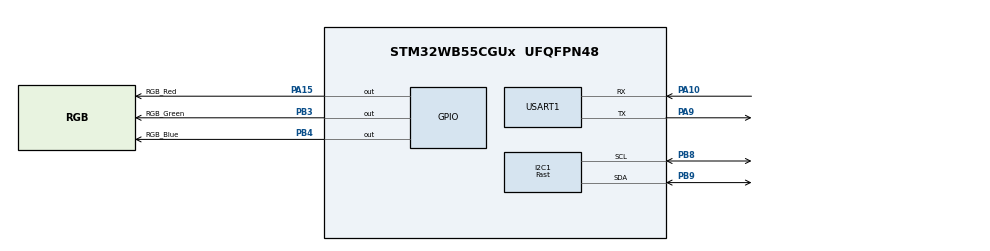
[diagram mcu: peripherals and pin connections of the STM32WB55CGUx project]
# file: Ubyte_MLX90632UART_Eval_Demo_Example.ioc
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I2C1.I2C_Speed_Mode=I2C_Fast
I2C1.Timing=0x00000003
Mcu.Family=STM32WB
Mcu.Name=STM32WB55CGUx
Mcu.Package=UFQFPN48
NVIC.PriorityGroup=NVIC_PRIORITYGROUP_4
NVIC.USART1_IRQn=true\:0\:0\:false\:false\:true\:true\:true\:true
PA10.Mode=Asynchronous
PA10.Signal=USART1_RX
PA15.GPIO_Label=RGB_Red
PA15.Signal=GPIO_Output
PA9.Mode=Asynchronous
PA9.Signal=USART1_TX
PB3.GPIO_Label=RGB_Green
PB3.Signal=GPIO_Output
PB4.GPIO_Label=RGB_Blue
PB4.Signal=GPIO_Output
PB8.GPIO_Pu=GPIO_PULLUP
PB8.Mode=I2C
PB8.Signal=I2C1_SCL
PB9.GPIO_Pu=GPIO_PULLUP
PB9.Mode=I2C
PB9.Signal=I2C1_SDA
ProjectManager.HeapSize=0x200
ProjectManager.StackSize=0x400
ProjectManager.TargetToolchain=STM32CubeIDE
RCC.APB3Freq_Value=16000000
RCC.HSE_VALUE=8000000
RCC.HSI48_VALUE=48000000
RCC.HSI_VALUE=16000000
RCC.LSE_VALUE=32768
RCC.VCOOutputFreq_Value=32000000
USART1.VirtualMode-Asynchronous=VM_ASYNC
VP_MEMORYMAP_VS_MEMORYMAP.Mode=CurAppReg
board=custom

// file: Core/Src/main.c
/* USER CODE BEGIN Header */

/*This sample code is made by Rohit Maurya (Embedded Software Developer at Ubyte Consulting).
This code demonstrates all the parameters that can be read from the Melexis Technologies NV MLX90632SLD-DCB-000-RE Sensor on the Ubyte MLX90632SLD-DCB-000-RE Evaluation Board connected to Ubyte STM32WB55CGU6 Development Board

  */

/* USER CODE END Header */
#include "main.h"

/* USER CODE BEGIN Includes */
#include <stdio.h>
#include "mlx90632.h"
#include "mlx90632_depends.h"
/* USER CODE END Includes */

/* USER CODE BEGIN PD */
#define MLX90632_I2C_ADDR (0x3B << 1)
/* USER CODE END PD */

I2C_HandleTypeDef hi2c1;

UART_HandleTypeDef huart1;

/* USER CODE BEGIN PV */
int32_t P_R, P_G, P_T, P_O, Ea, Eb, Fa, Fb, Ga;
int16_t Ha, Hb, Gb, Ka;
float Ambient_Temperature_C, Object_Temperature_C; //Ambient Temperature is the temperature measured by onboard temperature sensor on MLX90632SLD-DCB-000-RE. Object Temperature is the temperature measured using non contact IR for the object in front of the sensor
/* USER CODE END PV */

void SystemClock_Config(void);
void PeriphCommonClock_Config(void);
static void MX_GPIO_Init(void);
static void MX_I2C1_Init(void);
static void MX_USART1_UART_Init(void);
/* USER CODE BEGIN PFP */
int32_t read_eeprom_32(int16_t reg_address, int32_t *value);
/* USER CODE END PFP */

/* USER CODE BEGIN 0 */
// --- 1. UART PRINTF REDIRECTION ---
#ifdef __GNUC__
#define PUTCHAR_PROTOTYPE int __io_putchar(int ch)
#else
#define PUTCHAR_PROTOTYPE int fputc(int ch, FILE *f)
#endif

PUTCHAR_PROTOTYPE {
    HAL_UART_Transmit(&huart1, (uint8_t *)&ch, 1, HAL_MAX_DELAY);
    return ch;
}

// --- 2. MELEXIS LIBRARY WRAPPERS ---
// 1. I2C Read Wrapper
int32_t mlx90632_i2c_read(int16_t register_address, uint16_t *value) {
    uint8_t buffer[2];
    // Read from sensor address 0x3B
    if (HAL_I2C_Mem_Read(&hi2c1, (0x3B << 1), (uint16_t)register_address, I2C_MEMADD_SIZE_16BIT, buffer, 2, 100) == HAL_OK) {
        // Fix: Shift MSB and combine (MSB first)
        *value = (buffer[0] << 8) | buffer[1];
        return 0; // Success
    }
    return -1; // Fail
}

// 2. I2C Write Wrapper
int32_t mlx90632_i2c_write(int16_t register_address, uint16_t value) {
    uint8_t buffer[2];
    // Fix: Extract MSB first
    buffer[0] = (value >> 8) & 0xFF;
    buffer[1] = value & 0xFF;

    if (HAL_I2C_Mem_Write(&hi2c1, (0x3B << 1), (uint16_t)register_address, I2C_MEMADD_SIZE_16BIT, buffer, 2, 100) == HAL_OK) {
        return 0; // Success
    }
    return -1; // Fail
}

// 3. Microsecond Sleep Wrapper
void usleep(int min_range, int max_range) {
    uint32_t delay_ms = (min_range / 1000) + 1;
    HAL_Delay(delay_ms);
}

// 4. Millisecond Sleep Wrapper
void msleep(int msecs) {
    HAL_Delay((uint32_t)msecs);
}

// --- 3. HELPER FOR 32-BIT EEPROM READS ---
// The Melexis sensor stores 32-bit constants across two consecutive 16-bit addresses
int32_t read_eeprom_32(int16_t reg_address, int32_t *value) {
    uint16_t lsb, msb;
    if (mlx90632_i2c_read(reg_address, &lsb) != 0) return -1;
    if (mlx90632_i2c_read(reg_address + 1, &msb) != 0) return -1;
    *value = (int32_t)((msb << 16) | lsb);
    return 0;
}
/* USER CODE END 0 */

int main(void)
{

  /* MCU Configuration--------------------------------------------------------*/

  /* Reset of all peripherals, Initializes the Flash interface and the Systick. */
  HAL_Init();

  /* Configure the system clock */
  SystemClock_Config();

  /* Configure the peripherals common clocks */
  PeriphCommonClock_Config();

  /* Initialize all configured peripherals */
  MX_GPIO_Init();
  MX_I2C1_Init();
  MX_USART1_UART_Init();
  /* USER CODE BEGIN 2 */

  // Setting the Default state of the RGB LED to off
  HAL_GPIO_WritePin(GPIOA, GPIO_PIN_15, 1);
  HAL_GPIO_WritePin(GPIOB, GPIO_PIN_4, 1);
  HAL_GPIO_WritePin(GPIOB, GPIO_PIN_5, 1);

  printf("MLX90632 Initialization Starting...\r\n");

  printf("Scanning I2C bus...\r\n");
    int devices_found = 0;
    for(uint8_t i = 1; i < 128; i++) {
        // Shift the 7-bit address by 1 for HAL
        HAL_StatusTypeDef res = HAL_I2C_IsDeviceReady(&hi2c1, (uint16_t)(i << 1), 3, 100);
        if(res == HAL_OK) {
            printf("-> Device found at 7-bit address: 0x%02X\r\n", i);
            devices_found++;
        }
    }
    if(devices_found == 0) {
        printf("-> No I2C devices found.\r\n");
    }
    printf("Scan complete.\r\n");
    // -------------------------

    // 1. Initialize sensor and check EEPROM version
    if (mlx90632_init() < 0) {
        printf("Error: Failed to initialize MLX90632. Check wiring.\r\n");
        while (1) { HAL_Delay(1000); }
    }

    mlx90632_set_emissivity(0.98); // Set emissivity to 0.98

    printf("Sensor initialized successfully.\r\n");

    // 2. Read 32-bit EEPROM Calibration Constants
    read_eeprom_32(MLX90632_EE_P_R, &P_R);
    read_eeprom_32(MLX90632_EE_P_G, &P_G);
    read_eeprom_32(MLX90632_EE_P_T, &P_T);
    read_eeprom_32(MLX90632_EE_P_O, &P_O);
    read_eeprom_32(MLX90632_EE_Ea, &Ea);
    read_eeprom_32(MLX90632_EE_Eb, &Eb);
    read_eeprom_32(MLX90632_EE_Fa, &Fa);
    read_eeprom_32(MLX90632_EE_Fb, &Fb);
    read_eeprom_32(MLX90632_EE_Ga, &Ga);

    // 3. Read 16-bit EEPROM Calibration Constants
    uint16_t temp;
    mlx90632_i2c_read(MLX90632_EE_Gb, &temp); Gb = (int16_t)temp;
    mlx90632_i2c_read(MLX90632_EE_Ka, &temp); Ka = (int16_t)temp;
    mlx90632_i2c_read(MLX90632_EE_Ha, &temp); Ha = (int16_t)temp;
    mlx90632_i2c_read(MLX90632_EE_Hb, &temp); Hb = (int16_t)temp;

    printf("Calibration constants loaded from EEPROM.\r\n");

    int16_t ambient_new_raw, ambient_old_raw, object_new_raw, object_old_raw;
    double pre_ambient, pre_object, ambient_temp_c, object_temp_c;
  /* USER CODE END 2 */

  /* Infinite loop */
  while (1)
  {

    /* USER CODE BEGIN 3 */
	  // 4. Trigger and read raw data from the sensor
	      if (mlx90632_read_temp_raw(&ambient_new_raw, &ambient_old_raw, &object_new_raw, &object_old_raw) == 0) {

	          // 5. Pre-process the raw values
	          pre_ambient = mlx90632_preprocess_temp_ambient(ambient_new_raw, ambient_old_raw, Gb);
	          pre_object = mlx90632_preprocess_temp_object(object_new_raw, object_old_raw, ambient_new_raw, ambient_old_raw, Ka);

	          // 6. Calculate actual temperatures in Celsius
	          ambient_temp_c = mlx90632_calc_temp_ambient(ambient_new_raw, ambient_old_raw, P_T, P_R, P_G, P_O, Gb);
	          Ambient_Temperature_C = ambient_temp_c;

	          // Note: The calc_temp_object function requires pre-processed values cast to int32_t as per the library signature
	          object_temp_c = mlx90632_calc_temp_object((int32_t)pre_object, (int32_t)pre_ambient, Ea, Eb, Ga, Fa, Fb, Ha, Hb);
	          Object_Temperature_C = object_temp_c;

	          // 7. Output via UART
	          printf("Ambient Temp: %.2f C | Object Temp: %.2f C\r\n", ambient_temp_c, object_temp_c);
	      } else {
	          printf("Failed to read sensor data.\r\n");
	      }

	      //if temperature is greater than or equal to 50°C, red LED will light up
	      if (Object_Temperature_C >= 50) {

	    	  HAL_GPIO_WritePin(GPIOA, GPIO_PIN_15, 0);
	    	  HAL_GPIO_WritePin(GPIOB, GPIO_PIN_4, 1);
	    	  HAL_GPIO_WritePin(GPIOB, GPIO_PIN_5, 1);
	      }

	      //if temperature is greater than or equal to 20°C and less than 50°C, yellow LED (red + green) will light up
	      if (Object_Temperature_C < 50  && Object_Temperature_C >= 20) {
	    	  HAL_GPIO_WritePin(GPIOA, GPIO_PIN_15, 0);
	    	  HAL_GPIO_WritePin(GPIOB, GPIO_PIN_4, 0);
	    	  HAL_GPIO_WritePin(GPIOB, GPIO_PIN_5, 1);
	      }

	      //if temperature is less than 20°C, blue LED (red + green) will light up
	      if (Object_Temperature_C < 20) {
	    	  HAL_GPIO_WritePin(GPIOA, GPIO_PIN_15, 1);
	    	  HAL_GPIO_WritePin(GPIOB, GPIO_PIN_4, 1);
	    	  HAL_GPIO_WritePin(GPIOB, GPIO_PIN_5, 0);
	      }

	      HAL_Delay(200); // Wait 200ms before next measurement
  }
  /* USER CODE END 3 */
}

void SystemClock_Config(void)
{
  RCC_OscInitTypeDef RCC_OscInitStruct = {0};
  RCC_ClkInitTypeDef RCC_ClkInitStruct = {0};

  /** Configure the main internal regulator output voltage
  */
  __HAL_PWR_VOLTAGESCALING_CONFIG(PWR_REGULATOR_VOLTAGE_SCALE1);

  /** Initializes the RCC Oscillators according to the specified parameters
  * in the RCC_OscInitTypeDef structure.
  */
  RCC_OscInitStruct.OscillatorType = RCC_OSCILLATORTYPE_HSI|RCC_OSCILLATORTYPE_MSI;
  RCC_OscInitStruct.HSIState = RCC_HSI_ON;
  RCC_OscInitStruct.MSIState = RCC_MSI_ON;
  RCC_OscInitStruct.HSICalibrationValue = RCC_HSICALIBRATION_DEFAULT;
  RCC_OscInitStruct.MSICalibrationValue = RCC_MSICALIBRATION_DEFAULT;
  RCC_OscInitStruct.MSIClockRange = RCC_MSIRANGE_6;
  RCC_OscInitStruct.PLL.PLLState = RCC_PLL_NONE;
  if (HAL_RCC_OscConfig(&RCC_OscInitStruct) != HAL_OK)
  {
    Error_Handler();
  }

  /** Configure the SYSCLKSource, HCLK, PCLK1 and PCLK2 clocks dividers
  */
  RCC_ClkInitStruct.ClockType = RCC_CLOCKTYPE_HCLK4|RCC_CLOCKTYPE_HCLK2
                              |RCC_CLOCKTYPE_HCLK|RCC_CLOCKTYPE_SYSCLK
                              |RCC_CLOCKTYPE_PCLK1|RCC_CLOCKTYPE_PCLK2;
  RCC_ClkInitStruct.SYSCLKSource = RCC_SYSCLKSOURCE_MSI;
  RCC_ClkInitStruct.AHBCLKDivider = RCC_SYSCLK_DIV1;
  RCC_ClkInitStruct.APB1CLKDivider = RCC_HCLK_DIV1;
  RCC_ClkInitStruct.APB2CLKDivider = RCC_HCLK_DIV1;
  RCC_ClkInitStruct.AHBCLK2Divider = RCC_SYSCLK_DIV1;
  RCC_ClkInitStruct.AHBCLK4Divider = RCC_SYSCLK_DIV1;

  if (HAL_RCC_ClockConfig(&RCC_ClkInitStruct, FLASH_LATENCY_0) != HAL_OK)
  {
    Error_Handler();
  }
}

void PeriphCommonClock_Config(void)
{
  RCC_PeriphCLKInitTypeDef PeriphClkInitStruct = {0};

  /** Initializes the peripherals clock
  */
  PeriphClkInitStruct.PeriphClockSelection = RCC_PERIPHCLK_SMPS;
  PeriphClkInitStruct.SmpsClockSelection = RCC_SMPSCLKSOURCE_HSI;
  PeriphClkInitStruct.SmpsDivSelection = RCC_SMPSCLKDIV_RANGE1;

  if (HAL_RCCEx_PeriphCLKConfig(&PeriphClkInitStruct) != HAL_OK)
  {
    Error_Handler();
  }
}

static void MX_I2C1_Init(void)
{

  hi2c1.Instance = I2C1;
  hi2c1.Init.Timing = 0x00000003;
  hi2c1.Init.OwnAddress1 = 0;
  hi2c1.Init.AddressingMode = I2C_ADDRESSINGMODE_7BIT;
  hi2c1.Init.DualAddressMode = I2C_DUALADDRESS_DISABLE;
  hi2c1.Init.OwnAddress2 = 0;
  hi2c1.Init.OwnAddress2Masks = I2C_OA2_NOMASK;
  hi2c1.Init.GeneralCallMode = I2C_GENERALCALL_DISABLE;
  hi2c1.Init.NoStretchMode = I2C_NOSTRETCH_DISABLE;
  if (HAL_I2C_Init(&hi2c1) != HAL_OK)
  {
    Error_Handler();
  }

  /** Configure Analogue filter
  */
  if (HAL_I2CEx_ConfigAnalogFilter(&hi2c1, I2C_ANALOGFILTER_ENABLE) != HAL_OK)
  {
    Error_Handler();
  }

  /** Configure Digital filter
  */
  if (HAL_I2CEx_ConfigDigitalFilter(&hi2c1, 0) != HAL_OK)
  {
    Error_Handler();
  }

}

static void MX_USART1_UART_Init(void)
{

  huart1.Instance = USART1;
  huart1.Init.BaudRate = 115200;
  huart1.Init.WordLength = UART_WORDLENGTH_8B;
  huart1.Init.StopBits = UART_STOPBITS_1;
  huart1.Init.Parity = UART_PARITY_NONE;
  huart1.Init.Mode = UART_MODE_TX_RX;
  huart1.Init.HwFlowCtl = UART_HWCONTROL_NONE;
  huart1.Init.OverSampling = UART_OVERSAMPLING_16;
  huart1.Init.OneBitSampling = UART_ONE_BIT_SAMPLE_DISABLE;
  huart1.Init.ClockPrescaler = UART_PRESCALER_DIV1;
  huart1.AdvancedInit.AdvFeatureInit = UART_ADVFEATURE_NO_INIT;
  if (HAL_UART_Init(&huart1) != HAL_OK)
  {
    Error_Handler();
  }
  if (HAL_UARTEx_SetTxFifoThreshold(&huart1, UART_TXFIFO_THRESHOLD_1_8) != HAL_OK)
  {
    Error_Handler();
  }
  if (HAL_UARTEx_SetRxFifoThreshold(&huart1, UART_RXFIFO_THRESHOLD_1_8) != HAL_OK)
  {
    Error_Handler();
  }
  if (HAL_UARTEx_DisableFifoMode(&huart1) != HAL_OK)
  {
    Error_Handler();
  }

}

static void MX_GPIO_Init(void)
{
  GPIO_InitTypeDef GPIO_InitStruct = {0};

  /* GPIO Ports Clock Enable */
  __HAL_RCC_GPIOB_CLK_ENABLE();
  __HAL_RCC_GPIOA_CLK_ENABLE();

  /*Configure GPIO pin Output Level */
  HAL_GPIO_WritePin(RGB_Red_GPIO_Port, RGB_Red_Pin, GPIO_PIN_RESET);

  /*Configure GPIO pin Output Level */
  HAL_GPIO_WritePin(GPIOB, RGB_Green_Pin|RGB_Blue_Pin, GPIO_PIN_RESET);

  /*Configure GPIO pin : RGB_Red_Pin */
  GPIO_InitStruct.Pin = RGB_Red_Pin;
  GPIO_InitStruct.Mode = GPIO_MODE_OUTPUT_PP;
  GPIO_InitStruct.Pull = GPIO_NOPULL;
  GPIO_InitStruct.Speed = GPIO_SPEED_FREQ_LOW;
  HAL_GPIO_Init(RGB_Red_GPIO_Port, &GPIO_InitStruct);

  /*Configure GPIO pins : RGB_Green_Pin RGB_Blue_Pin */
  GPIO_InitStruct.Pin = RGB_Green_Pin|RGB_Blue_Pin;
  GPIO_InitStruct.Mode = GPIO_MODE_OUTPUT_PP;
  GPIO_InitStruct.Pull = GPIO_NOPULL;
  GPIO_InitStruct.Speed = GPIO_SPEED_FREQ_LOW;
  HAL_GPIO_Init(GPIOB, &GPIO_InitStruct);

}

void Error_Handler(void)
{
  __disable_irq();
  while (1)
  {
  }
}
